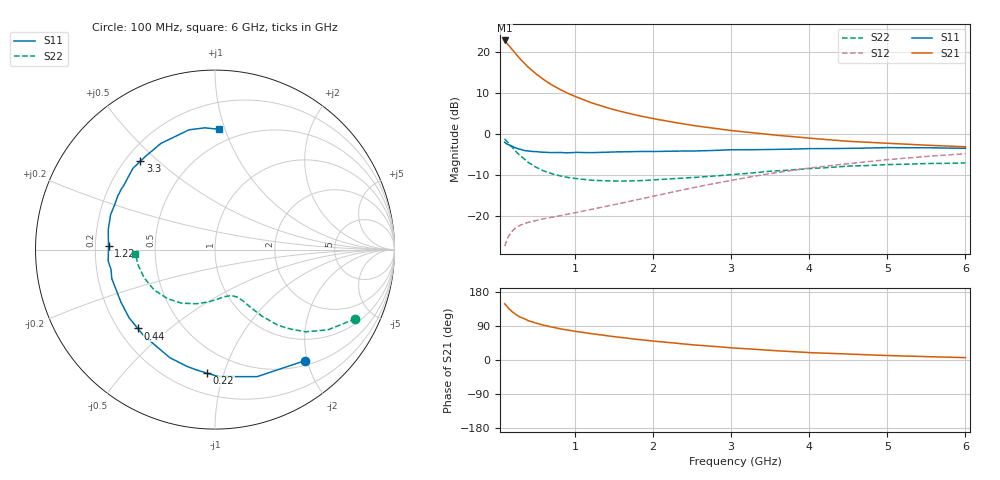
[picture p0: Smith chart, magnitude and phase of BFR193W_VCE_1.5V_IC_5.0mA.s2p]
! Infineon Technologies  Discrete & RF Semiconductors
! BFR193W
! VCE =  1.5 V,  IC =  5.0 mA
! Common Emitter S-Parameters:  Nov 2015
# GHz  S  MA  R  50
!  f  S11  S21  S12  S22
! GHz  MAG  ANG  MAG  ANG  MAG  ANG  MAG  ANG
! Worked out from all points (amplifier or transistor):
!   192 points, 100 MHz to 6 GHz, reference 50 ohm
!   highest |S21| = 22.8 dB at 100 MHz (marker M1)
!   |S21| within 3 dB of that: start of sweep to 232 MHz
!   unconditionally stable (mu >= 1): 1.168 GHz to 2.676 GHz
!   at 440 MHz: K = 0.51, MSG = 18.5 dB, |S12| = -21.3 dB
!   at 1.7 GHz: K = 1.07, MAG = 9.0 dB, |S12| = -16.4 dB
!   at 6 GHz: K = 0.93, MSG = 0.8 dB, |S12| = -4.8 dB
!   S11 on the Smith chart (normalised r, x): 100 MHz: 0.58, -1.95; 220 MHz: 0.34, -0.88; 440 MHz: 0.28, -0.39; 1.22 GHz: 0.26, +0.02; 3.3 GHz: 0.26, +0.44; 6 GHz: 0.39, +0.96
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0.1  0.7958 -51.1  13.73 148.5  0.0432 64.7  0.8723 -26.2
0.15  0.7458 -71.6  12.08 136.3  0.0571 56.0  0.7727 -35.3
0.2  0.708 -88.4  10.59 126.7  0.0664 50.1  0.6832 -42.1
0.22  0.6898 -93.6  10.04 124.0  0.069 48.2  0.6508 -43.9
0.26  0.6679 -104.0  9.039 118.2  0.074 45.1  0.5917 -47.6
0.3  0.6526 -112.7  8.172 113.3  0.0778 42.8  0.5443 -50.4
0.4  0.6223 -129.7  6.524 104.0  0.084 40.0  0.4536 -54.8
0.44  0.6147 -134.4  6.064 101.6  0.0859 39.7  0.4302 -55.8
0.52  0.6078 -143.3  5.234 96.2  0.0896 39.4  0.3874 -57.8
0.6  0.6003 -150.8  4.592 91.6  0.0931 39.6  0.3554 -59.6
0.7  0.5944 -158.0  3.973 86.8  0.0969 40.8  0.3292 -61.1
0.9  0.5896 -169.3  3.151 79.1  0.1057 43.9  0.2969 -64.1
1.1  0.5947 -177.7  2.64 73.0  0.115 47.3  0.281 -67.7
1.22  0.5936 177.9  2.386 69.2  0.1212 49.1  0.2736 -70.0
1.6  0.6064 166.6  1.868 59.1  0.1446 54.5  0.2672 -77.7
2.08  0.6143 154.4  1.492 48.5  0.1819 58.9  0.2784 -88.6
2.5  0.6205 145.6  1.274 40.2  0.2205 60.3  0.2951 -97.8
3.1  0.643 133.6  1.077 30.9  0.2837 59.1  0.3255 -112.3
3.3  0.6444 130.1  1.028 28.2  0.3067 58.0  0.3376 -117.4
4.1  0.6638 115.4  0.874 18.8  0.3948 51.8  0.3838 -136.6
5.1  0.6815 100.8  0.761 11.2  0.4961 42.2  0.4261 -160.4
6  0.6704 88.0  0.699 6.3  0.5756 32.6  0.4439 -177.0
